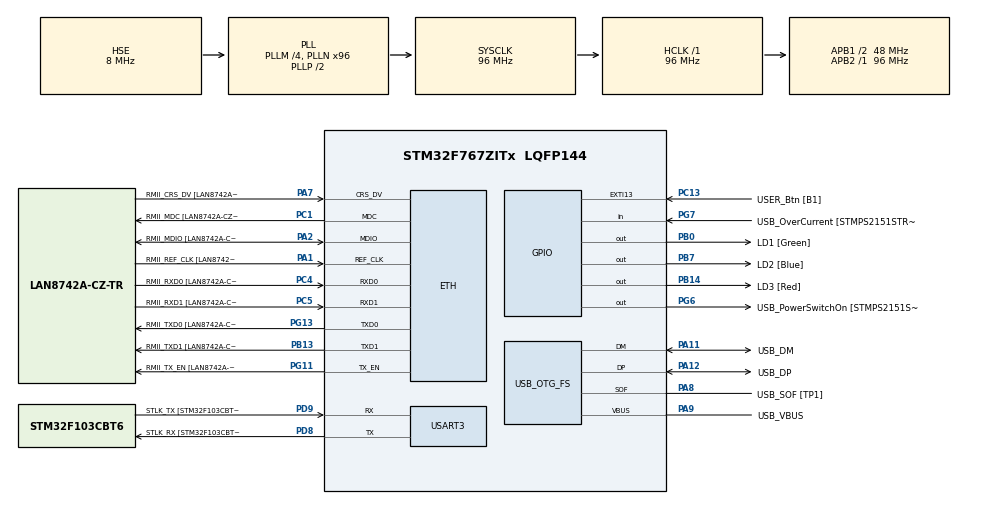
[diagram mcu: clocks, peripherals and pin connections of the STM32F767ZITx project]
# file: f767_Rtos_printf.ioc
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Mcu.Family=STM32F7
RCC.CortexFreq_Value=96000000
PG6.Signal=GPIO_Output
PB14.GPIO_Label=LD3 [Red]
PG6.GPIO_Label=USB_PowerSwitchOn [STMPS2151STR_EN]
PA14.GPIO_Label=TCK
RCC.SYSCLKSourceVirtual=RCC_SYSCLKSOURCE_PLLCLK
PA11.Mode=Device_Only
PB0.GPIO_Label=LD1 [Green]
PC14/OSC32_IN.Mode=LSE-External-Oscillator
PC5.Mode=RMII
PC13.GPIO_Label=USER_Btn [B1]
PB13.GPIO_Label=RMII_TXD1 [LAN8742A-CZ-TR_TXD1]
PB13.Signal=ETH_TXD1
PG13.Signal=ETH_TXD0
PD9.Mode=Asynchronous
PG11.Signal=ETH_TX_EN
RCC.SYSCLKSource=RCC_SYSCLKSOURCE_PLLCLK
ProjectManager.StackSize=0x400
USART3.VirtualMode-Asynchronous=VM_ASYNC
PA12.Signal=USB_OTG_FS_DP
ETH.PHY_Value=0
PH0/OSC_IN.Mode=HSE-External-Clock-Source
RCC.HCLKFreq_Value=96000000
RCC.APB2TimFreq_Value=96000000
PH1/OSC_OUT.Signal=RCC_OSC_OUT
PD8.Signal=USART3_TX
RCC.AHBFreq_Value=96000000
NVIC.EXTI15_10_IRQn=true\:5\:0\:false\:false\:true\:true\:true\:true
RCC.HSE_VALUE=8000000
RCC.PLLMUL=RCC_PLL_MUL9
PC4.GPIO_Label=RMII_RXD0 [LAN8742A-CZ-TR_RXD0]
PA14.Mode=Serial_Wire
PA10.GPIO_Label=USB_ID
PB7.Signal=GPIO_Output
PA8.Signal=USB_OTG_FS_SOF
PG13.Mode=RMII
ETH.PHY_Name=LAN8742A_PHY_ADDRESS
VP_FREERTOS_VS_CMSIS_V1.Mode=CMSIS_V1
PH1/OSC_OUT.Mode=HSE-External-Clock-Source
PB7.GPIO_Label=LD2 [Blue]
Mcu.Package=LQFP144
PC14/OSC32_IN.Signal=RCC_OSC32_IN
PA2.GPIO_Label=RMII_MDIO [LAN8742A-CZ-TR_MDIO]
PA10.Signal=USB_OTG_FS_ID
USB_OTG_FS.VirtualMode=Device_Only
RCC.APB1TimFreq_Value=96000000
PG11.GPIO_Label=RMII_TX_EN [LAN8742A-CZ-TR_TXEN]
PC5.Signal=ETH_RXD1
PB13.Mode=RMII
PC4.Mode=RMII
PB3.GPIO_Label=SWO
FREERTOS.Tasks01=defaultTask,0,128,StartDefaultTask,Default,NULL,Dynamic,NULL,NULL
PA7.Mode=RMII
PG7.Signal=GPIO_Input
PD9.GPIO_Label=STLK_TX [STM32F103CBT6_PA2]
PC13.Signal=GPXTI13
PA9.GPIO_Label=USB_VBUS
PC4.Signal=ETH_RXD0
PA11.GPIO_Label=USB_DM
PD9.Signal=USART3_RX
RCC.APB1CLKDivider=RCC_HCLK_DIV2
PG13.GPIO_Label=RMII_TXD0 [LAN8742A-CZ-TR_TXD0]
ETH.PhyAddress=0
PA12.GPIO_Label=USB_DP
PD8.GPIO_Label=STLK_RX [STM32F103CBT6_PA3]
PA13.Signal=SYS_JTMS-SWDIO
PA9.Mode=Activate_VBUS
PA8.GPIO_Label=USB_SOF [TP1]
ProjectManager.TargetToolchain=TrueSTUDIO
PA9.Signal=USB_OTG_FS_VBUS
RCC.USBFreq_Value=48000000
PD8.Mode=Asynchronous
PA1.Signal=ETH_REF_CLK
PB14.Signal=GPIO_Output
board=NUCLEO-F767ZI
RCC.VCOOutputFreq_Value=192000000
PH0/OSC_IN.Signal=RCC_OSC_IN
RCC.APB2Freq_Value=96000000
PA1.Mode=RMII
RCC.PRESCALERUSB=RCC_USBCLKSOURCE_PLL_DIV1_5
PG7.GPIO_Label=USB_OverCurrent [STMPS2151STR_FAULT]
PA1.GPIO_Label=RMII_REF_CLK [LAN8742A-CZ-TR_REFCLK0]
PC1.GPIO_Label=RMII_MDC [LAN8742A-CZ-TR_MDC]
PA13.Mode=Serial_Wire
Mcu.Name=STM32F767ZITx
PA2.Signal=ETH_MDIO
PA13.GPIO_Label=TMS
RCC.48MHZClocksFreq_Value=24000000
PB3.Signal=SYS_JTDO-SWO
RCC.SYSCLKFreq_VALUE=96000000
ETH.MediaInterface=ETH_MEDIA_INTERFACE_RMII
PA7.GPIO_Label=RMII_CRS_DV [LAN8742A-CZ-TR_CRS_DV]
PA12.Mode=Device_Only
PC5.GPIO_Label=RMII_RXD1 [LAN8742A-CZ-TR_RXD1]
PC15/OSC32_OUT.Mode=LSE-External-Oscillator
PG11.Mode=RMII
PA11.Signal=USB_OTG_FS_DM
PA14.Signal=SYS_JTCK-SWCLK
ProjectManager.HeapSize=0x200
RCC.HSI_VALUE=16000000
PH0/OSC_IN.GPIO_Label=MCO [STM32F103CBT6_PA8]
RCC.PLLQ=4
NVIC.PriorityGroup=NVIC_PRIORITYGROUP_4
RCC.PLLM=4
RCC.PLLN=96
PA2.Mode=RMII
PC15/OSC32_OUT.Signal=RCC_OSC32_OUT
PA8.Mode=Activate_SOF_FS
RCC.APB1Freq_Value=48000000
PB0.Signal=GPIO_Output
PC1.Signal=ETH_MDC
PC1.Mode=RMII
PA7.Signal=ETH_CRS_DV

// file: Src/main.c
/* USER CODE BEGIN Header */
/**
  ******************************************************************************
  * @file           : main.c
  * @brief          : Main program body
  ******************************************************************************
  * @attention
  *
  * <h2><center>&copy; Copyright (c) 2020 STMicroelectronics.
  * All rights reserved.</center></h2>
  *
  * This software component is licensed by ST under Ultimate Liberty license
  * SLA0044, the "License"; You may not use this file except in compliance with
  * the License. You may obtain a copy of the License at:
  *                             www.st.com/SLA0044
  *
  ******************************************************************************
  */
/* USER CODE END Header */

#include "main.h"
#include "cmsis_os.h"

/* USER CODE BEGIN Includes */
#include "stdio.h"
#include "stdint.h"
#include "string.h"
/* USER CODE END Includes */

ETH_HandleTypeDef heth;

UART_HandleTypeDef huart3;

PCD_HandleTypeDef hpcd_USB_OTG_FS;

osThreadId defaultTaskHandle;

void SystemClock_Config(void);
static void MX_GPIO_Init(void);
static void MX_ETH_Init(void);
static void MX_USART3_UART_Init(void);
static void MX_USB_OTG_FS_PCD_Init(void);
void StartDefaultTask(void const * argument);

/* USER CODE BEGIN 0 */

#if (defined(__GNUC__) && !defined(__CC_ARM))
/* With GCC/RAISONANCE, small printf (option LD Linker->Libraries->Small printf
   set to 'Yes') calls __io_putchar() */
#define PUTCHAR_PROTOTYPE int __io_putchar(int ch)
#define GETCHAR_PROTOTYPE int __io_getchar(void)
#else
#define PUTCHAR_PROTOTYPE int fputc(int ch, FILE *f)
#define GETCHAR_PROTOTYPE int fgetc(FILE *f)
#endif /* __GNUC__ */

/**
  * @brief  Retargets the C library printf function to the USART.
  * @param  None
  * @retval None
  */
PUTCHAR_PROTOTYPE
{
  /* Place your implementation of fputc here */
  /* e.g. write a character to the USART2 and Loop until the end of transmission */
  while (HAL_OK != HAL_UART_Transmit(&huart3, (uint8_t *) &ch, 1, 30000))
  {
    ;
  }
  return ch;
}

/**
  * @brief  Retargets the C library scanf function to the USART.
  * @param  None
  * @retval None
  */
GETCHAR_PROTOTYPE
{
  /* Place your implementation of fgetc here */
  /* e.g. read a character on USART and loop until the end of read */
  uint8_t ch = 0;
  while (HAL_OK != HAL_UART_Receive(&huart3, (uint8_t *)&ch, 1, 30000))
  {
    ;
  }
  return ch;
}
/* USER CODE END 0 */

int main(void)
{

  /* MCU Configuration--------------------------------------------------------*/

  /* Reset of all peripherals, Initializes the Flash interface and the Systick. */
  HAL_Init();

  /* Configure the system clock */
  SystemClock_Config();

  /* Initialize all configured peripherals */
  MX_GPIO_Init();
  MX_ETH_Init();
  MX_USART3_UART_Init();
  MX_USB_OTG_FS_PCD_Init();

  /* Create the thread(s) */
  /* definition and creation of defaultTask */
  osThreadDef(defaultTask, StartDefaultTask, osPriorityNormal, 0, 128);
  defaultTaskHandle = osThreadCreate(osThread(defaultTask), NULL);

  /* Start scheduler */
  osKernelStart();

  /* We should never get here as control is now taken by the scheduler */
  /* Infinite loop */
  while (1)
  {

  }
}

void SystemClock_Config(void)
{
  RCC_OscInitTypeDef RCC_OscInitStruct = {0};
  RCC_ClkInitTypeDef RCC_ClkInitStruct = {0};
  RCC_PeriphCLKInitTypeDef PeriphClkInitStruct = {0};

  /** Configure LSE Drive Capability
  */
  HAL_PWR_EnableBkUpAccess();
  /** Configure the main internal regulator output voltage
  */
  __HAL_RCC_PWR_CLK_ENABLE();
  __HAL_PWR_VOLTAGESCALING_CONFIG(PWR_REGULATOR_VOLTAGE_SCALE3);
  /** Initializes the CPU, AHB and APB busses clocks
  */
  RCC_OscInitStruct.OscillatorType = RCC_OSCILLATORTYPE_HSE;
  RCC_OscInitStruct.HSEState = RCC_HSE_BYPASS;
  RCC_OscInitStruct.PLL.PLLState = RCC_PLL_ON;
  RCC_OscInitStruct.PLL.PLLSource = RCC_PLLSOURCE_HSE;
  RCC_OscInitStruct.PLL.PLLM = 4;
  RCC_OscInitStruct.PLL.PLLN = 96;
  RCC_OscInitStruct.PLL.PLLP = RCC_PLLP_DIV2;
  RCC_OscInitStruct.PLL.PLLQ = 4;
  if (HAL_RCC_OscConfig(&RCC_OscInitStruct) != HAL_OK)
  {
    Error_Handler();
  }
  /** Activate the Over-Drive mode
  */
  if (HAL_PWREx_EnableOverDrive() != HAL_OK)
  {
    Error_Handler();
  }
  /** Initializes the CPU, AHB and APB busses clocks
  */
  RCC_ClkInitStruct.ClockType = RCC_CLOCKTYPE_HCLK|RCC_CLOCKTYPE_SYSCLK
                              |RCC_CLOCKTYPE_PCLK1|RCC_CLOCKTYPE_PCLK2;
  RCC_ClkInitStruct.SYSCLKSource = RCC_SYSCLKSOURCE_PLLCLK;
  RCC_ClkInitStruct.AHBCLKDivider = RCC_SYSCLK_DIV1;
  RCC_ClkInitStruct.APB1CLKDivider = RCC_HCLK_DIV2;
  RCC_ClkInitStruct.APB2CLKDivider = RCC_HCLK_DIV1;

  if (HAL_RCC_ClockConfig(&RCC_ClkInitStruct, FLASH_LATENCY_3) != HAL_OK)
  {
    Error_Handler();
  }
  PeriphClkInitStruct.PeriphClockSelection = RCC_PERIPHCLK_USART3|RCC_PERIPHCLK_CLK48;
  PeriphClkInitStruct.Usart3ClockSelection = RCC_USART3CLKSOURCE_PCLK1;
  PeriphClkInitStruct.Clk48ClockSelection = RCC_CLK48SOURCE_PLL;
  if (HAL_RCCEx_PeriphCLKConfig(&PeriphClkInitStruct) != HAL_OK)
  {
    Error_Handler();
  }
}

static void MX_ETH_Init(void)
{

  heth.Instance = ETH;
  heth.Init.AutoNegotiation = ETH_AUTONEGOTIATION_ENABLE;
  heth.Init.PhyAddress = LAN8742A_PHY_ADDRESS;
  heth.Init.MACAddr[0] =   0x00;
  heth.Init.MACAddr[1] =   0x80;
  heth.Init.MACAddr[2] =   0xE1;
  heth.Init.MACAddr[3] =   0x00;
  heth.Init.MACAddr[4] =   0x00;
  heth.Init.MACAddr[5] =   0x00;
  heth.Init.RxMode = ETH_RXPOLLING_MODE;
  heth.Init.ChecksumMode = ETH_CHECKSUM_BY_HARDWARE;
  heth.Init.MediaInterface = ETH_MEDIA_INTERFACE_RMII;

  if (HAL_ETH_Init(&heth) != HAL_OK)
  {
    Error_Handler();
  }

}

static void MX_USART3_UART_Init(void)
{

  huart3.Instance = USART3;
  huart3.Init.BaudRate = 115200;
  huart3.Init.WordLength = UART_WORDLENGTH_8B;
  huart3.Init.StopBits = UART_STOPBITS_1;
  huart3.Init.Parity = UART_PARITY_NONE;
  huart3.Init.Mode = UART_MODE_TX_RX;
  huart3.Init.HwFlowCtl = UART_HWCONTROL_NONE;
  huart3.Init.OverSampling = UART_OVERSAMPLING_16;
  huart3.Init.OneBitSampling = UART_ONE_BIT_SAMPLE_DISABLE;
  huart3.AdvancedInit.AdvFeatureInit = UART_ADVFEATURE_NO_INIT;
  if (HAL_UART_Init(&huart3) != HAL_OK)
  {
    Error_Handler();
  }

}

static void MX_USB_OTG_FS_PCD_Init(void)
{

  hpcd_USB_OTG_FS.Instance = USB_OTG_FS;
  hpcd_USB_OTG_FS.Init.dev_endpoints = 6;
  hpcd_USB_OTG_FS.Init.speed = PCD_SPEED_FULL;
  hpcd_USB_OTG_FS.Init.dma_enable = DISABLE;
  hpcd_USB_OTG_FS.Init.phy_itface = PCD_PHY_EMBEDDED;
  hpcd_USB_OTG_FS.Init.Sof_enable = ENABLE;
  hpcd_USB_OTG_FS.Init.low_power_enable = DISABLE;
  hpcd_USB_OTG_FS.Init.lpm_enable = DISABLE;
  hpcd_USB_OTG_FS.Init.vbus_sensing_enable = ENABLE;
  hpcd_USB_OTG_FS.Init.use_dedicated_ep1 = DISABLE;
  if (HAL_PCD_Init(&hpcd_USB_OTG_FS) != HAL_OK)
  {
    Error_Handler();
  }

}

static void MX_GPIO_Init(void)
{
  GPIO_InitTypeDef GPIO_InitStruct = {0};

  /* GPIO Ports Clock Enable */
  __HAL_RCC_GPIOC_CLK_ENABLE();
  __HAL_RCC_GPIOH_CLK_ENABLE();
  __HAL_RCC_GPIOA_CLK_ENABLE();
  __HAL_RCC_GPIOB_CLK_ENABLE();
  __HAL_RCC_GPIOD_CLK_ENABLE();
  __HAL_RCC_GPIOG_CLK_ENABLE();

  /*Configure GPIO pin Output Level */
  HAL_GPIO_WritePin(GPIOB, LD1_Pin|LD3_Pin|LD2_Pin, GPIO_PIN_RESET);

  /*Configure GPIO pin Output Level */
  HAL_GPIO_WritePin(USB_PowerSwitchOn_GPIO_Port, USB_PowerSwitchOn_Pin, GPIO_PIN_RESET);

  /*Configure GPIO pin : USER_Btn_Pin */
  GPIO_InitStruct.Pin = USER_Btn_Pin;
  GPIO_InitStruct.Mode = GPIO_MODE_IT_RISING;
  GPIO_InitStruct.Pull = GPIO_NOPULL;
  HAL_GPIO_Init(USER_Btn_GPIO_Port, &GPIO_InitStruct);

  /*Configure GPIO pins : LD1_Pin LD3_Pin LD2_Pin */
  GPIO_InitStruct.Pin = LD1_Pin|LD3_Pin|LD2_Pin;
  GPIO_InitStruct.Mode = GPIO_MODE_OUTPUT_PP;
  GPIO_InitStruct.Pull = GPIO_NOPULL;
  GPIO_InitStruct.Speed = GPIO_SPEED_FREQ_LOW;
  HAL_GPIO_Init(GPIOB, &GPIO_InitStruct);

  /*Configure GPIO pin : USB_PowerSwitchOn_Pin */
  GPIO_InitStruct.Pin = USB_PowerSwitchOn_Pin;
  GPIO_InitStruct.Mode = GPIO_MODE_OUTPUT_PP;
  GPIO_InitStruct.Pull = GPIO_NOPULL;
  GPIO_InitStruct.Speed = GPIO_SPEED_FREQ_LOW;
  HAL_GPIO_Init(USB_PowerSwitchOn_GPIO_Port, &GPIO_InitStruct);

  /*Configure GPIO pin : USB_OverCurrent_Pin */
  GPIO_InitStruct.Pin = USB_OverCurrent_Pin;
  GPIO_InitStruct.Mode = GPIO_MODE_INPUT;
  GPIO_InitStruct.Pull = GPIO_NOPULL;
  HAL_GPIO_Init(USB_OverCurrent_GPIO_Port, &GPIO_InitStruct);

  /* EXTI interrupt init*/
  HAL_NVIC_SetPriority(EXTI15_10_IRQn, 5, 0);
  HAL_NVIC_EnableIRQ(EXTI15_10_IRQn);

}

void StartDefaultTask(void const * argument)
{
  /* USER CODE BEGIN 5 */
  /* Infinite loop */
  for(;;)
  {
	  printf("Hellooooooooooooooooooooooooooo\n\r");
    osDelay(100);
  }
  /* USER CODE END 5 */
}

void Error_Handler(void)
{
}

/************************ (C) COPYRIGHT STMicroelectronics *****END OF FILE****/
